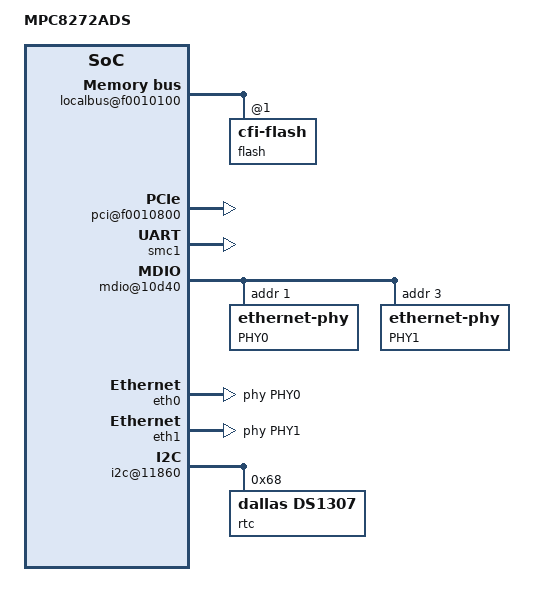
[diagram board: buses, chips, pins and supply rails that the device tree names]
/*
 * MPC8272 ADS Device Tree Source
 *
 * Copyright 2005,2008 Freescale Semiconductor Inc.
 *
 * This program is free software; you can redistribute  it and/or modify it
 * under  the terms of  the GNU General  Public License as published by the
 * Free Software Foundation;  either version 2 of the  License, or (at your
 * option) any later version.
 */

/dts-v1/;

/ {
	model = "MPC8272ADS";
	compatible = "fsl,mpc8272ads";
	#address-cells = <1>;
	#size-cells = <1>;

	aliases {
		ethernet0 = &eth0;
		ethernet1 = &eth1;
		serial0 = &smc1;
	};

	cpus {
		#address-cells = <1>;
		#size-cells = <0>;

		PowerPC,8272@0 {
			device_type = "cpu";
			reg = <0x0>;
			d-cache-line-size = <32>;
			i-cache-line-size = <32>;
			d-cache-size = <16384>;
			i-cache-size = <16384>;
			timebase-frequency = <0>;
			bus-frequency = <0>;
			clock-frequency = <0>;
		};
	};

	memory {
		device_type = "memory";
		reg = <0x0 0x0>;
	};

	localbus@f0010100 {
		compatible = "fsl,mpc8272-localbus",
		             "fsl,pq2-localbus";
		#address-cells = <2>;
		#size-cells = <1>;
		reg = <0xf0010100 0x40>;

		ranges = <0x0 0x0 0xfff00000 0x80000
		          0x1 0x0 0x40000000 0x4000000
		          0x4 0x0 0x60000000 0x1000>;

		flash@1,0 {
			compatible = "cfi-flash";
			reg = <0x1 0x0 0x4000000>;
			bank-width = <4>;
			device-width = <1>;
			partitions = <0x00000000 0x00100000 /* RW */
				      0x00100000 0x03f00000>; /* RW */
			partition-names = "Linux Kernel", "JFFS2";
		};
	};
	
	pci@f0010800 {
		device_type = "pci";
		reg = <0xf0010800 0x10c 0xf00101ac 0x8 0xf00101c4 0x8>;
		compatible = "fsl,mpc8272-pci", "fsl,pq2-pci";
		#size-cells = <2>;
		#address-cells = <3>;
		clock-frequency = <33333333>;
		ranges = <0x42000000 0x0 0x80000000 0x80000000 0x0 0x20000000
		          0x2000000  0x0 0xa0000000 0xa0000000 0x0 0x20000000
		          0x1000000  0x0 0x0        0xf6000000 0x0 0x2000000>;
	};

	soc@f0000000 {
		#address-cells = <1>;
		#size-cells = <1>;
		device_type = "soc";
		compatible = "fsl,mpc8272", "fsl,pq2-soc";
		ranges = <0x0 0xf0000000 0x53000>;

		// Temporary -- will go away once kernel uses ranges for get_immrbase().
		reg = <0xf0000000 0x53000>;

		cpm@119c0 {
			#address-cells = <1>;
			#size-cells = <1>;
			compatible = "fsl,mpc8272-cpm", "fsl,cpm2";
			reg = <0x119c0 0x30>;
			ranges;

			muram@0 {
				#address-cells = <1>;
				#size-cells = <1>;
				ranges = <0x0 0x0 0x10000>;

				data@0 {
					compatible = "fsl,cpm-muram-data";
					reg = <0x0 0x2000 0x9800 0x800>;
				};
			};

			brg@119f0 {
				compatible = "fsl,mpc8272-brg",
				             "fsl,cpm2-brg",
				             "fsl,cpm-brg";
				reg = <0x119f0 0x10 0x115f0 0x10>;
			};

			smc1: serial@11a80 {
				device_type = "serial";
				compatible = "fsl,cpm1-smc-uart";
				reg = <0x11a80 0x20 0x87fc 2>;
				interrupts = <4 8>;
				interrupt-parent = <&PIC>;
				fsl,cpm-brg = <7>;
				fsl,cpm-command = <0x1d000000>;
			};

			mdio@10d40 {
				device_type = "mdio";
				compatible = "fsl,mpc8272ads-mdio-bitbang",
				             "fsl,mpc8272-mdio-bitbang",
				             "fsl,cpm2-mdio-bitbang";
				reg = <0x10d40 0x14>;
				#address-cells = <1>;
				#size-cells = <0>;
				fsl,mdio-pin = <18>;
				fsl,mdc-pin = <19>;

				PHY0: ethernet-phy@0 {
					reg = <0x1>;
					device_type = "ethernet-phy";
				};

				PHY1: ethernet-phy@1 {
					reg = <0x3>;
					device_type = "ethernet-phy";
				};
			};

			eth0: ethernet@11300 {
				device_type = "network";
				compatible = "fsl,mpc8272-fcc-enet",
				             "fsl,cpm2-fcc-enet";
				reg = <0x11300 0x20 0x8400 0x100 0x11390 0x1>;
				interrupts = <32 8>;
				interrupt-parent = <&PIC>;
				phy-handle = <&PHY0>;
				linux,network-index = <0>;
				fsl,cpm-command = <0x12000300>;
			};
			
			eth1: ethernet@11320 {
				device_type = "network";
				compatible = "fsl,mpc8272-fcc-enet",
				             "fsl,cpm2-fcc-enet";
				reg = <0x11320 0x20 0x8500 0x100 0x113b0 0x1>;
				interrupts = <33 8>;
				interrupt-parent = <&PIC>;
				phy-handle = <&PHY1>;
				linux,network-index = <1>;
				fsl,cpm-command = <0x16200300>;
			};

			i2c@11860 {
				compatible = "fsl,mpc8272-i2c",
					     "fsl,cpm2-i2c";
				reg = <0x11860 0x20 0x8afc 0x2>;
				interrupts = <1 8>;
				interrupt-parent = <&PIC>;
				fsl,cpm-command = <0x29600000>;
				#address-cells = <1>;
				#size-cells = <0>;
				rtc@68 {
					compatible = "dallas,ds1307";
					reg = <0x68>;

				};
			};
		};
		
		PIC: interrupt-controller@10c00 {
			#interrupt-cells = <2>;
			interrupt-controller;
			reg = <0x10c00 0x80>;
			compatible = "fsl,mpc8272-pic", "fsl,cpm2-pic";
		};
	};

	chosen {
		linux,stdout-path = "/soc/cpm/serial@11a80";
	};
};
